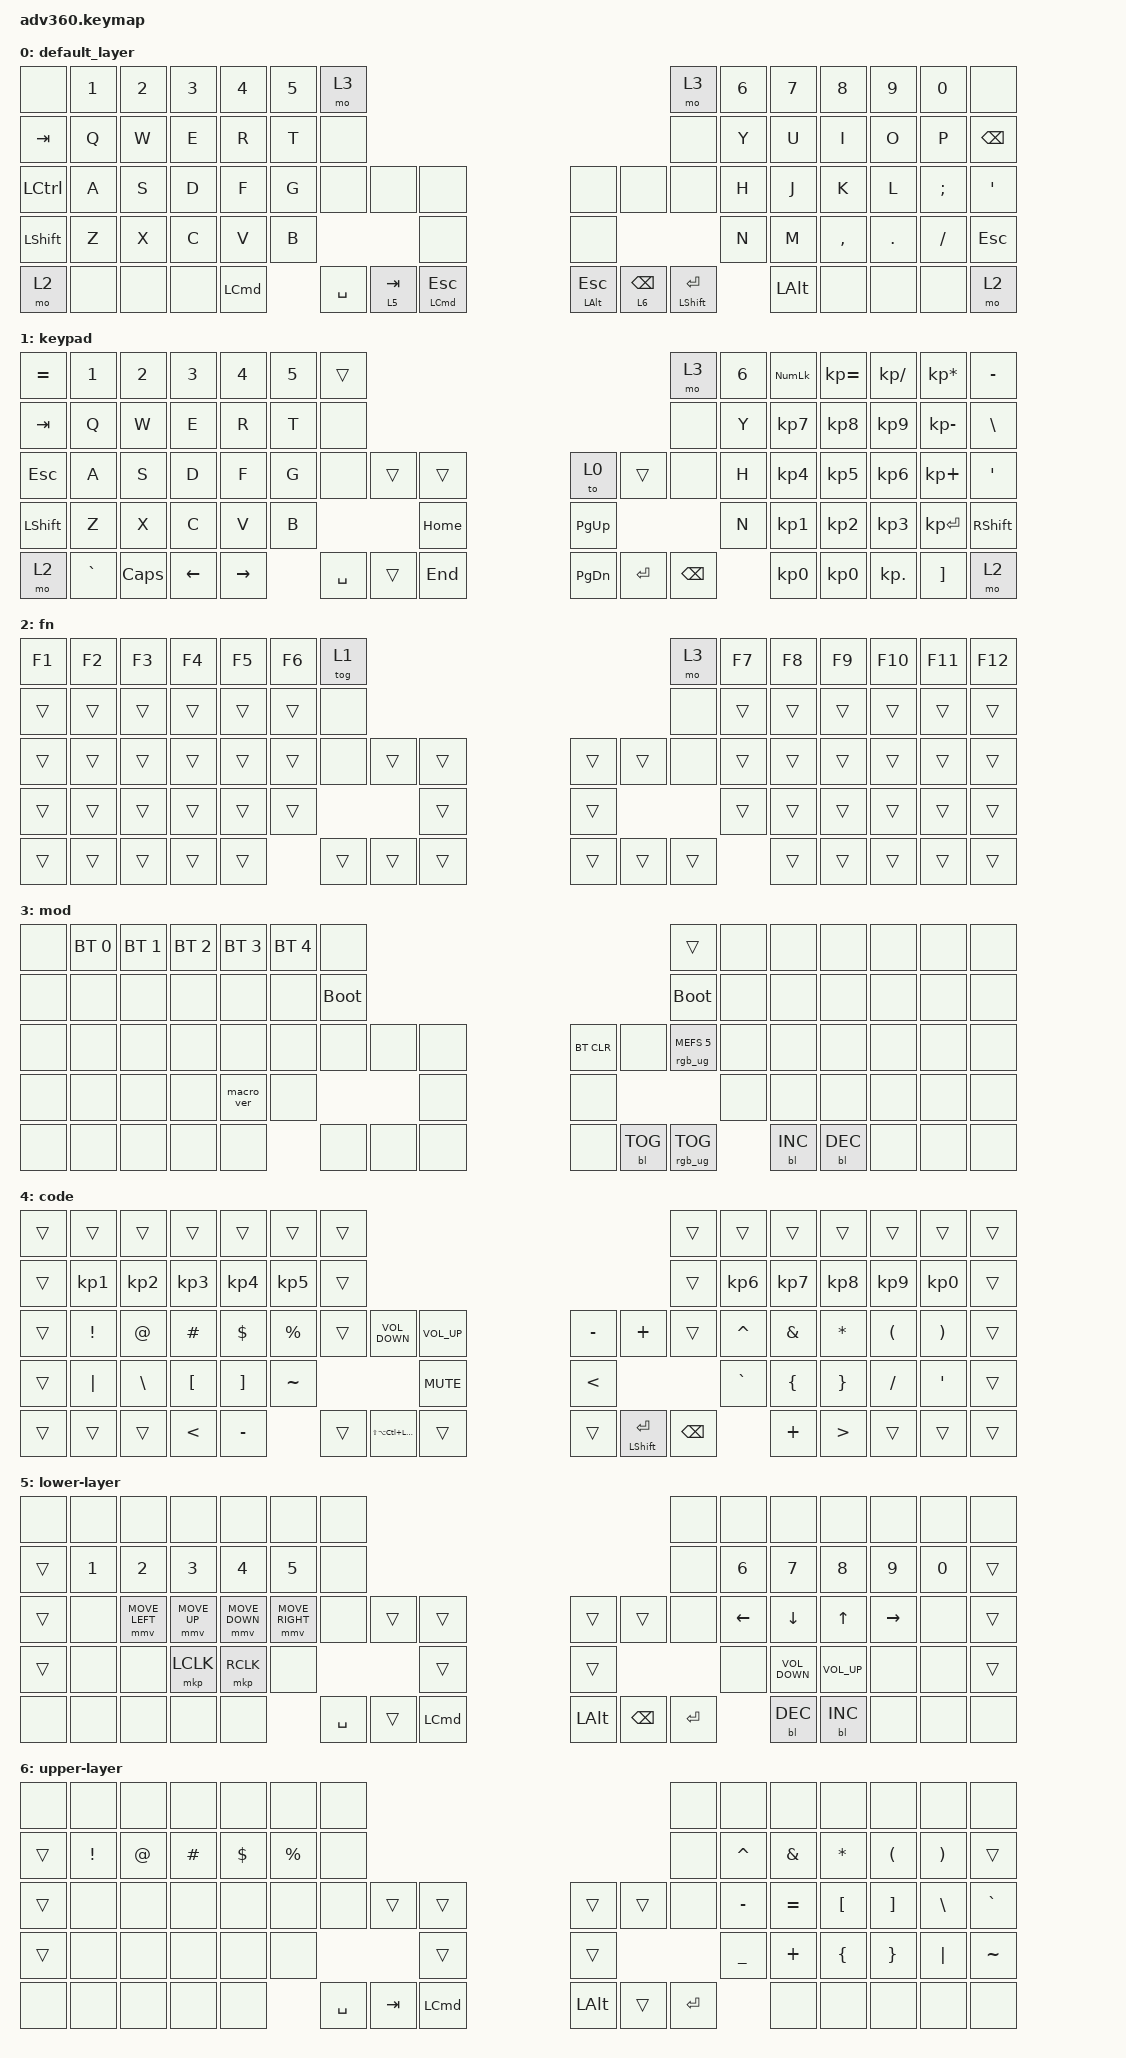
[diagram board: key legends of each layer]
#include <behaviors.dtsi>
#include <dt-bindings/zmk/backlight.h>
#include <dt-bindings/zmk/bt.h>
#include <dt-bindings/zmk/keys.h>
#include <dt-bindings/zmk/pointing.h>
#include <dt-bindings/zmk/rgb.h>

/ {
    behaviors {
        #include "macros.dtsi"
      #include "version.dtsi"
      #ifndef VERSION_MACRO

        macro_ver: macro_ver {
            compatible = "zmk,behavior-macro";
            label = "macro_version";
            #binding-cells = <0>;
            bindings = <&kp RET>;
        };

        macro_open_curly_braclet: macro_open_curly_braclet {
            compatible = "zmk,behavior-macro";
            #binding-cells = <0>;
            bindings = <&kp RBKT>;
            label = "MACRO_OPEN_CURLY_BRACLET";
        };

        #endif

        hm: homerow_mods {
            compatible = "zmk,behavior-hold-tap";
            label = "HOMEROW_MODS";
            #binding-cells = <2>;
            tapping-term-ms = <200>;
            quick_tap_ms = <175>;
            flavor = "tap-preferred";
            bindings = <&kp>, <&kp>;
        };
    };

    macros {
    };

    combos {
        compatible = "zmk,combos";

        vim-left {
            bindings = <&kp LEFT>;
            key-positions = <66 40>;
            timeout-ms = <50>;
            layers = <0>;
            require-prior-idle-ms = <50>;
        };

        vim-down {
            bindings = <&kp DOWN_ARROW>;
            key-positions = <66 41>;
            timeout-ms = <50>;
            require-prior-idle-ms = <50>;
            layers = <0>;
        };

        vim-up {
            bindings = <&kp UP_ARROW>;
            key-positions = <66 42>;
            timeout-ms = <50>;
            require-prior-idle-ms = <50>;
            layers = <0>;
        };

        vim-right {
            bindings = <&kp RIGHT_ARROW>;
            key-positions = <66 43>;
            timeout-ms = <50>;
            require-prior-idle-ms = <50>;
            layers = <0>;
        };

        hyper-tab {
            bindings = <&kp TAB>;
            key-positions = <66 70>;
            timeout-ms = <50>;
            require-prior-idle-ms = <50>;
            layers = <0>;
        };

        hyper-curly_brackets_open {
            bindings = <&kp LEFT_BRACE>;
            key-positions = <66 56>;
            timeout-ms = <50>;
            require-prior-idle-ms = <50>;
            layers = <0>;
        };

        hyper-curly_brackets_close {
            bindings = <&kp RIGHT_BRACE>;
            key-positions = <66 57>;
            timeout-ms = <50>;
            require-prior-idle-ms = <50>;
            layers = <0>;
        };
    };

    keymap {
        compatible = "zmk,keymap";

        default_layer {
            bindings = <
&none      &kp N1  &kp N2  &kp N3  &kp N4            &kp N5  &mo 3                                                                                    &mo 3                 &kp N6  &kp N7        &kp N8     &kp N9   &kp N0    &none
&kp TAB    &kp Q   &kp W   &kp E   &kp R             &kp T   &none                                                                                    &none                 &kp Y   &kp U         &kp I      &kp O    &kp P     &kp BACKSPACE
&kp LCTRL  &kp A   &kp S   &kp D   &kp F             &kp G   &none      &none      &none                        &none                &none            &none                 &kp H   &kp J         &kp K      &kp L    &kp SEMI  &kp SQT
&kp LSHFT  &kp Z   &kp X   &kp C   &kp V             &kp B                         &none                        &none                                                       &kp N   &kp M         &kp COMMA  &kp DOT  &kp FSLH  &kp ESCAPE
&mo 2      &none   &none   &none   &kp LEFT_COMMAND          &kp SPACE  &lt 5 TAB  &hm LEFT_COMMAND ESCAPE      &hm LEFT_ALT ESCAPE  &lt 6 BACKSPACE  &hm LEFT_SHIFT ENTER          &kp LEFT_ALT  &none      &none    &none     &mo 2
            >;
        };

        keypad {
            bindings = <
&kp EQUAL  &kp N1     &kp N2    &kp N3    &kp N4     &kp N5  &trans                                                 &mo 3          &kp N6  &kp KP_NUM  &kp KP_EQUAL  &kp KP_DIVIDE  &kp KP_MULTIPLY  &kp MINUS
&kp TAB    &kp Q      &kp W     &kp E     &kp R      &kp T   &none                                                  &none          &kp Y   &kp KP_N7   &kp KP_N8     &kp KP_N9      &kp KP_MINUS     &kp BSLH
&kp ESC    &kp A      &kp S     &kp D     &kp F      &kp G   &none      &trans  &trans        &to 0      &trans     &none          &kp H   &kp KP_N4   &kp KP_N5     &kp KP_N6      &kp KP_PLUS      &kp SQT
&kp LSHFT  &kp Z      &kp X     &kp C     &kp V      &kp B                      &kp HOME      &kp PG_UP                            &kp N   &kp KP_N1   &kp KP_N2     &kp KP_N3      &kp KP_ENTER     &kp RSHFT
&mo 2      &kp GRAVE  &kp CAPS  &kp LEFT  &kp RIGHT          &kp SPACE  &trans  &kp END       &kp PG_DN  &kp ENTER  &kp BACKSPACE          &kp KP_N0   &kp KP_N0     &kp KP_DOT     &kp RBKT         &mo 2
            >;
        };

        fn {
            bindings = <
&kp F1  &kp F2  &kp F3  &kp F4  &kp F5  &kp F6  &tog 1                                      &mo 3   &kp F7  &kp F8  &kp F9  &kp F10  &kp F11  &kp F12
&trans  &trans  &trans  &trans  &trans  &trans  &none                                       &none   &trans  &trans  &trans  &trans   &trans   &trans
&trans  &trans  &trans  &trans  &trans  &trans  &none   &trans  &trans      &trans  &trans  &none   &trans  &trans  &trans  &trans   &trans   &trans
&trans  &trans  &trans  &trans  &trans  &trans                  &trans      &trans                  &trans  &trans  &trans  &trans   &trans   &trans
&trans  &trans  &trans  &trans  &trans          &trans  &trans  &trans      &trans  &trans  &trans          &trans  &trans  &trans   &trans   &trans
            >;
        };

        mod {
            bindings = <
&none  &bt BT_SEL 0  &bt BT_SEL 1  &bt BT_SEL 2  &bt BT_SEL 3  &bt BT_SEL 4  &none                                                  &trans                  &none  &none       &none       &none  &none  &none
&none  &none         &none         &none         &none         &none         &bootloader                                            &bootloader             &none  &none       &none       &none  &none  &none
&none  &none         &none         &none         &none         &none         &none        &none  &none      &bt BT_CLR  &none       &rgb_ug RGB_MEFS_CMD 5  &none  &none       &none       &none  &none  &none
&none  &none         &none         &none         &macro_ver    &none                             &none      &none                                           &none  &none       &none       &none  &none  &none
&none  &none         &none         &none         &none                       &none        &none  &none      &none       &bl BL_TOG  &rgb_ug RGB_TOG                &bl BL_INC  &bl BL_DEC  &none  &none  &none
            >;
        };

        code {
            bindings = <
&trans  &trans     &trans         &trans            &trans             &trans       &trans                                                                                          &trans         &trans     &trans          &trans            &trans                &trans                 &trans
&trans  &kp KP_N1  &kp KP_N2      &kp KP_N3         &kp KP_N4          &kp KP_N5    &trans                                                                                          &trans         &kp KP_N6  &kp KP_N7       &kp KP_N8         &kp KP_N9             &kp KP_N0              &trans
&trans  &kp EXCL   &kp AT         &kp HASH          &kp DOLLAR         &kp PERCENT  &trans  &kp C_VOLUME_DOWN             &kp C_VOLUME_UP      &kp MINUS      &kp PLUS              &trans         &kp CARET  &kp AMPS        &kp STAR          &kp LEFT_PARENTHESIS  &kp RIGHT_PARENTHESIS  &trans
&trans  &kp PIPE   &kp BACKSLASH  &kp LEFT_BRACKET  &kp RIGHT_BRACKET  &kp TILDE                                          &kp C_MUTE           &kp LESS_THAN                                       &kp GRAVE  &kp LEFT_BRACE  &kp RIGHT_BRACE   &kp SLASH             &kp APOSTROPHE         &trans
&trans  &trans     &trans         &kp LESS_THAN     &kp MINUS                       &trans  &kp LS(LA(LC(LEFT_COMMAND)))  &trans               &trans         &hm LEFT_SHIFT ENTER  &kp BACKSPACE             &kp PLUS        &kp GREATER_THAN  &trans                &trans                 &trans
            >;
        };

        lower-layer {
            bindings = <
&none   &none         &none           &none         &none           &none            &none                                                                 &none      &none         &none              &none            &none         &none         &none
&trans  &kp NUMBER_1  &kp NUMBER_2    &kp NUMBER_3  &kp NUMBER_4    &kp NUMBER_5     &none                                                                 &none      &kp NUMBER_6  &kp NUMBER_7       &kp NUMBER_8     &kp NUMBER_9  &kp NUMBER_0  &trans
&trans  &none         &mmv MOVE_LEFT  &mmv MOVE_UP  &mmv MOVE_DOWN  &mmv MOVE_RIGHT  &none      &trans  &trans                &trans        &trans         &none      &kp LEFT      &kp DOWN           &kp UP           &kp RIGHT     &none         &trans
&trans  &none         &none           &mkp LCLK     &mkp RCLK       &none                               &trans                &trans                                  &none         &kp C_VOLUME_DOWN  &kp C_VOLUME_UP  &none         &none         &trans
&none   &none         &none           &none         &none                            &kp SPACE  &trans  &kp LEFT_COMMAND      &kp LEFT_ALT  &kp BACKSPACE  &kp ENTER                &bl BL_DEC         &bl BL_INC       &none         &none         &none
            >;
        };

        upper-layer {
            bindings = <
&none   &none     &none   &none     &none       &none        &none                                                           &none      &none           &none          &none             &none                 &none                  &none
&trans  &kp EXCL  &kp AT  &kp HASH  &kp DOLLAR  &kp PERCENT  &none                                                           &none      &kp CARET       &kp AMPERSAND  &kp ASTERISK      &kp LEFT_PARENTHESIS  &kp RIGHT_PARENTHESIS  &trans
&trans  &none     &none   &none     &none       &none        &none      &trans   &trans                &trans        &trans  &none      &kp MINUS       &kp EQUAL      &kp LEFT_BRACKET  &kp RIGHT_BRACKET     &kp BACKSLASH          &kp GRAVE
&trans  &none     &none   &none     &none       &none                            &trans                &trans                           &kp UNDERSCORE  &kp PLUS       &kp LEFT_BRACE    &kp RIGHT_BRACE       &kp PIPE               &kp TILDE
&none   &none     &none   &none     &none                    &kp SPACE  &kp TAB  &kp LEFT_COMMAND      &kp LEFT_ALT  &trans  &kp ENTER                  &none          &none             &none                 &none                  &none
            >;
        };
    };
};
